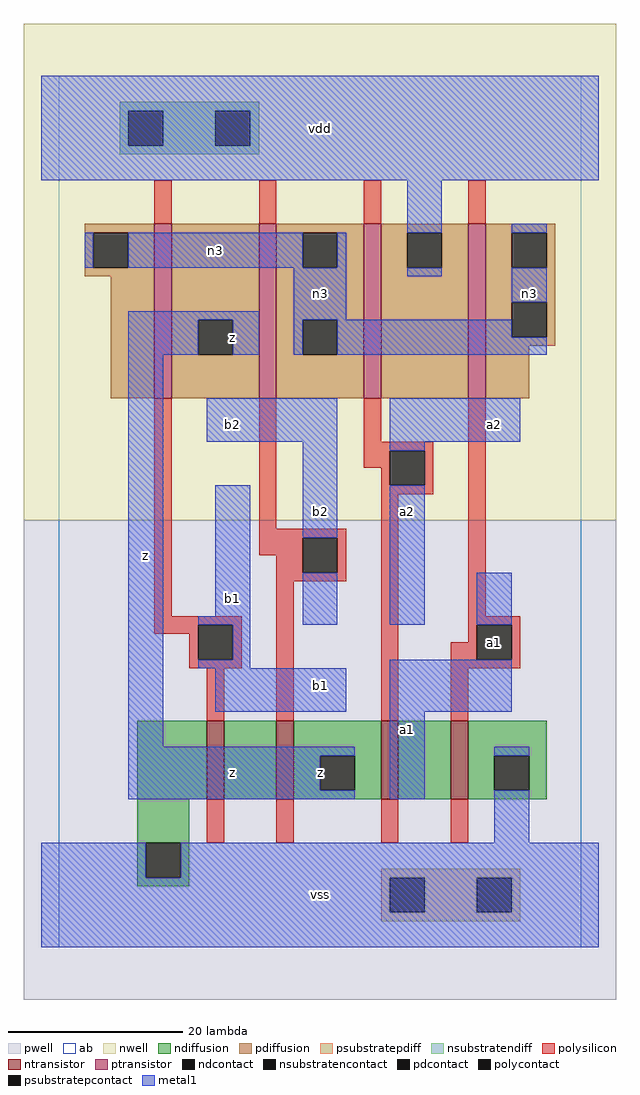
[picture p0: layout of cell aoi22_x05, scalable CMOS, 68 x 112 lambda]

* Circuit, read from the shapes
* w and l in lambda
.subckt aoi22_x05 a1 a2 b1 b2 n3 vdd vss z
M1 n1 b1 vss vss nfet w=9 l=2
M2 z b2 n1 vss nfet w=9 l=2
M3 n2 a2 z vss nfet w=9 l=2
M4 vss a1 n2 vss nfet w=9 l=2
M5 z b1 n3 vdd pfet w=20 l=2
M6 n3 b2 z vdd pfet w=20 l=2
M7 vdd a2 n3 vdd pfet w=20 l=2
M8 n3 a1 vdd vdd pfet w=20 l=2
.ends

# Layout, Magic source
magic
tech scmos
<< ab >>
rect 0 0 60 100
<< pwell >>
rect -4 -6 64 49
<< nwell >>
rect -4 49 64 106
<< polysilicon >>
rect 11 83 13 88
rect 23 83 25 88
rect 35 83 37 88
rect 47 83 49 88
rect 11 38 13 63
rect 23 48 25 63
rect 35 58 37 63
rect 35 57 43 58
rect 35 55 38 57
rect 37 53 38 55
rect 42 53 43 57
rect 37 52 43 53
rect 23 47 33 48
rect 23 45 28 47
rect 25 43 28 45
rect 32 43 33 47
rect 25 42 33 43
rect 11 37 21 38
rect 11 36 16 37
rect 15 33 16 36
rect 20 33 21 37
rect 15 32 21 33
rect 17 26 19 32
rect 25 26 27 42
rect 37 26 39 52
rect 47 38 49 63
rect 47 37 53 38
rect 47 35 48 37
rect 45 33 48 35
rect 52 33 53 37
rect 45 32 53 33
rect 45 26 47 32
rect 17 12 19 17
rect 25 12 27 17
rect 37 12 39 17
rect 45 12 47 17
<< ndiffusion >>
rect 9 17 17 26
rect 19 17 25 26
rect 27 22 37 26
rect 27 18 30 22
rect 34 18 37 22
rect 27 17 37 18
rect 39 17 45 26
rect 47 22 56 26
rect 47 18 50 22
rect 54 18 56 22
rect 47 17 56 18
rect 9 12 15 17
rect 9 8 10 12
rect 14 8 15 12
rect 9 7 15 8
<< pdiffusion >>
rect 3 82 11 83
rect 3 78 4 82
rect 8 78 11 82
rect 3 77 11 78
rect 6 63 11 77
rect 13 72 23 83
rect 13 68 16 72
rect 20 68 23 72
rect 13 63 23 68
rect 25 82 35 83
rect 25 78 28 82
rect 32 78 35 82
rect 25 72 35 78
rect 25 68 28 72
rect 32 68 35 72
rect 25 63 35 68
rect 37 82 47 83
rect 37 78 40 82
rect 44 78 47 82
rect 37 63 47 78
rect 49 82 57 83
rect 49 78 52 82
rect 56 78 57 82
rect 49 74 57 78
rect 49 70 52 74
rect 56 70 57 74
rect 49 69 57 70
rect 49 63 54 69
<< metal1 >>
rect -2 88 62 100
rect 40 82 44 88
rect 3 78 4 82
rect 8 78 28 82
rect 32 78 33 82
rect 8 72 23 73
rect 8 68 16 72
rect 20 68 23 72
rect 27 72 33 78
rect 40 77 44 78
rect 52 82 56 83
rect 52 74 56 78
rect 27 68 28 72
rect 32 70 52 72
rect 32 68 56 70
rect 8 23 12 68
rect 17 58 32 63
rect 18 38 22 53
rect 16 37 22 38
rect 28 47 32 58
rect 28 37 32 43
rect 38 58 53 63
rect 38 57 42 58
rect 38 37 42 53
rect 48 37 52 43
rect 20 33 22 37
rect 16 32 22 33
rect 18 27 33 32
rect 38 27 52 33
rect 8 22 34 23
rect 8 18 30 22
rect 8 17 34 18
rect 38 17 42 27
rect 50 22 54 23
rect 50 12 54 18
rect -2 8 10 12
rect 14 8 62 12
rect -2 0 62 8
<< ntransistor >>
rect 17 17 19 26
rect 25 17 27 26
rect 37 17 39 26
rect 45 17 47 26
<< ptransistor >>
rect 11 63 13 83
rect 23 63 25 83
rect 35 63 37 83
rect 47 63 49 83
<< polycontact >>
rect 38 53 42 57
rect 28 43 32 47
rect 16 33 20 37
rect 48 33 52 37
<< ndcontact >>
rect 30 18 34 22
rect 50 18 54 22
rect 10 8 14 12
<< pdcontact >>
rect 4 78 8 82
rect 16 68 20 72
rect 28 78 32 82
rect 28 68 32 72
rect 40 78 44 82
rect 52 78 56 82
rect 52 70 56 74
<< psubstratepcontact >>
rect 38 4 42 8
rect 48 4 52 8
<< nsubstratencontact >>
rect 8 92 12 96
rect 18 92 22 96
<< psubstratepdiff >>
rect 37 8 53 9
rect 37 4 38 8
rect 42 4 48 8
rect 52 4 53 8
rect 37 3 53 4
<< nsubstratendiff >>
rect 7 96 23 97
rect 7 92 8 96
rect 12 92 18 96
rect 22 92 23 96
rect 7 91 23 92
<< labels >>
rlabel metal1 20 20 20 20 6 z
rlabel metal1 20 20 20 20 6 z
rlabel metal1 20 40 20 40 6 b1
rlabel metal1 20 40 20 40 6 b1
rlabel metal1 10 45 10 45 6 z
rlabel metal1 10 45 10 45 6 z
rlabel metal1 20 60 20 60 6 b2
rlabel metal1 20 60 20 60 6 b2
rlabel metal1 20 70 20 70 6 z
rlabel metal1 20 70 20 70 6 z
rlabel metal1 30 6 30 6 6 vss
rlabel metal1 30 6 30 6 6 vss
rlabel metal1 30 20 30 20 6 z
rlabel metal1 30 20 30 20 6 z
rlabel metal1 30 30 30 30 6 b1
rlabel metal1 30 30 30 30 6 b1
rlabel metal1 30 50 30 50 6 b2
rlabel metal1 30 50 30 50 6 b2
rlabel metal1 30 75 30 75 6 n3
rlabel metal1 18 80 18 80 6 n3
rlabel metal1 30 94 30 94 6 vdd
rlabel metal1 30 94 30 94 6 vdd
rlabel metal1 40 25 40 25 6 a1
rlabel metal1 40 25 40 25 6 a1
rlabel metal1 40 50 40 50 6 a2
rlabel metal1 40 50 40 50 6 a2
rlabel polycontact 50 35 50 35 6 a1
rlabel polycontact 50 35 50 35 6 a1
rlabel metal1 50 60 50 60 6 a2
rlabel metal1 50 60 50 60 6 a2
rlabel metal1 54 75 54 75 6 n3
<< end >>
